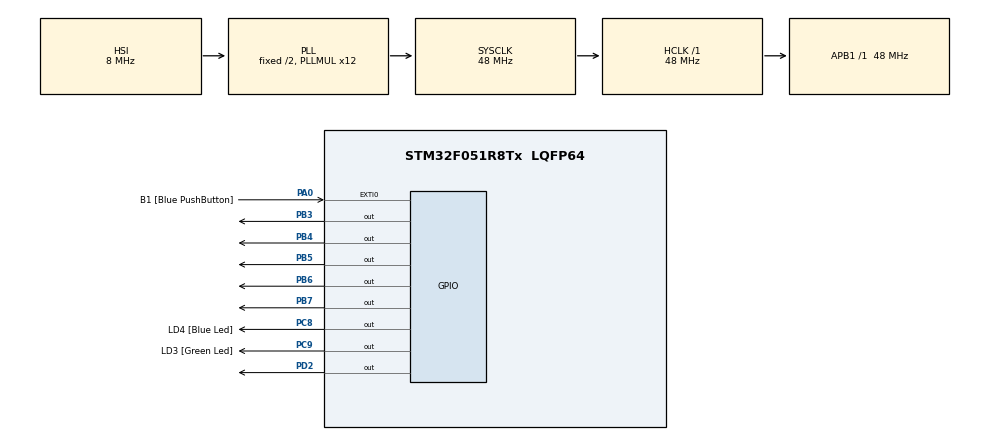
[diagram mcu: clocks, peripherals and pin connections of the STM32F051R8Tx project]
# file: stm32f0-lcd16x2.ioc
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Mcu.Family=STM32F0
Mcu.Name=STM32F051R8Tx
Mcu.Package=LQFP64
PA0.GPIO_Label=B1 [Blue PushButton]
PA0.GPIO_ModeDefaultEXTI=GPIO_MODE_EVT_RISING
PA0.Signal=GPXTI0
PA13.GPIO_Label=SWDIO
PA13.Mode=Serial_Wire
PA13.Signal=SYS_SWDIO
PA14.GPIO_Label=SWCLK
PA14.Mode=Serial_Wire
PA14.Signal=SYS_SWCLK
PB3.GPIO_Speed=GPIO_SPEED_FREQ_MEDIUM
PB3.Signal=GPIO_Output
PB4.GPIO_Speed=GPIO_SPEED_FREQ_MEDIUM
PB4.Signal=GPIO_Output
PB5.GPIO_Speed=GPIO_SPEED_FREQ_MEDIUM
PB5.Signal=GPIO_Output
PB6.GPIO_Speed=GPIO_SPEED_FREQ_MEDIUM
PB6.Signal=GPIO_Output
PB7.GPIO_Speed=GPIO_SPEED_FREQ_MEDIUM
PB7.Signal=GPIO_Output
PC8.GPIO_Label=LD4 [Blue Led]
PC8.GPIO_Speed=GPIO_SPEED_FREQ_LOW
PC8.Signal=GPIO_Output
PC9.GPIO_Label=LD3 [Green Led]
PC9.GPIO_Speed=GPIO_SPEED_FREQ_LOW
PC9.Signal=GPIO_Output
PD2.GPIO_Speed=GPIO_SPEED_FREQ_MEDIUM
PD2.Signal=GPIO_Output
ProjectManager.HeapSize=0x200
ProjectManager.StackSize=0x400
ProjectManager.TargetToolchain=STM32CubeIDE
RCC.AHBFreq_Value=48000000
RCC.APB1Freq_Value=48000000
RCC.APB1TimFreq_Value=48000000
RCC.HCLKFreq_Value=48000000
RCC.PLLMUL=RCC_PLL_MUL12
RCC.SYSCLKFreq_VALUE=48000000
RCC.SYSCLKSource=RCC_SYSCLKSOURCE_PLLCLK
TIM1.Prescaler=41
VP_TIM1_VS_ClockSourceINT.Mode=Internal
board=STM32F0DISCOVERY

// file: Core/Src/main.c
/* USER CODE BEGIN Header */
/**
  ******************************************************************************
  * @file           : main.c
  * @brief          : Main program body
  ******************************************************************************
  * @attention
  *
  * Copyright (c) 2023 STMicroelectronics.
  * All rights reserved.
  *
  * This software is licensed under terms that can be found in the LICENSE file
  * in the root directory of this software component.
  * If no LICENSE file comes with this software, it is provided AS-IS.
  *
  ******************************************************************************
  */
/* USER CODE END Header */
#include "main.h"

/* USER CODE BEGIN Includes */
#include<stdint.h>
#include<stdio.h>
/* USER CODE END Includes */

/* USER CODE BEGIN PD */

//For easier references to pins
#define RS_PIN GPIO_PIN_7
#define ENABLE_PIN GPIO_PIN_2
#define D4_PIN GPIO_PIN_3
#define D5_PIN GPIO_PIN_4
#define D6_PIN GPIO_PIN_5
#define D7_PIN GPIO_PIN_6

//For easier references to pin ports
#define RS_PORT GPIOB
#define DATA_PORT GPIOB
#define	ENABLE_PORT GPIOD
/* USER CODE END PD */

TIM_HandleTypeDef htim1;

void SystemClock_Config(void);
static void MX_GPIO_Init(void);
static void MX_TIM1_Init(void);

/* USER CODE BEGIN 0 */
void send_lcd_cmd(char cmd);
void send_lcd_string(char* text);
void send_lcd_text(char character);
void lcd_init();

void delay_us(int us)
{
	__HAL_TIM_SET_COUNTER(&htim1, 0);
	while(__HAL_TIM_GET_COUNTER(&htim1) < us);
}
/* USER CODE END 0 */

int main(void)
{

  /* MCU Configuration--------------------------------------------------------*/

  /* Reset of all peripherals, Initializes the Flash interface and the Systick. */
  HAL_Init();

  /* Configure the system clock */
  SystemClock_Config();

  /* Initialize all configured peripherals */
  MX_GPIO_Init();
  MX_TIM1_Init();
  /* USER CODE BEGIN 2 */
  __HAL_TIM_ENABLE(&htim1);
  lcd_init();
  //send_lcd_string("Hello world");
  send_lcd_string("Hello world!");
  /* USER CODE END 2 */

  /* Infinite loop */
  while (1)
  {

  }
}

void SystemClock_Config(void)
{
  RCC_OscInitTypeDef RCC_OscInitStruct = {0};
  RCC_ClkInitTypeDef RCC_ClkInitStruct = {0};

  /** Initializes the RCC Oscillators according to the specified parameters
  * in the RCC_OscInitTypeDef structure.
  */
  RCC_OscInitStruct.OscillatorType = RCC_OSCILLATORTYPE_HSI;
  RCC_OscInitStruct.HSIState = RCC_HSI_ON;
  RCC_OscInitStruct.HSICalibrationValue = RCC_HSICALIBRATION_DEFAULT;
  RCC_OscInitStruct.PLL.PLLState = RCC_PLL_ON;
  RCC_OscInitStruct.PLL.PLLSource = RCC_PLLSOURCE_HSI;
  RCC_OscInitStruct.PLL.PLLMUL = RCC_PLL_MUL12;
  RCC_OscInitStruct.PLL.PREDIV = RCC_PREDIV_DIV1;
  if (HAL_RCC_OscConfig(&RCC_OscInitStruct) != HAL_OK)
  {
    Error_Handler();
  }

  /** Initializes the CPU, AHB and APB buses clocks
  */
  RCC_ClkInitStruct.ClockType = RCC_CLOCKTYPE_HCLK|RCC_CLOCKTYPE_SYSCLK
                              |RCC_CLOCKTYPE_PCLK1;
  RCC_ClkInitStruct.SYSCLKSource = RCC_SYSCLKSOURCE_PLLCLK;
  RCC_ClkInitStruct.AHBCLKDivider = RCC_SYSCLK_DIV1;
  RCC_ClkInitStruct.APB1CLKDivider = RCC_HCLK_DIV1;

  if (HAL_RCC_ClockConfig(&RCC_ClkInitStruct, FLASH_LATENCY_1) != HAL_OK)
  {
    Error_Handler();
  }
}

static void MX_TIM1_Init(void)
{

  TIM_ClockConfigTypeDef sClockSourceConfig = {0};
  TIM_MasterConfigTypeDef sMasterConfig = {0};

  htim1.Instance = TIM1;
  htim1.Init.Prescaler = 41;
  htim1.Init.CounterMode = TIM_COUNTERMODE_UP;
  htim1.Init.Period = 65535;
  htim1.Init.ClockDivision = TIM_CLOCKDIVISION_DIV1;
  htim1.Init.RepetitionCounter = 0;
  htim1.Init.AutoReloadPreload = TIM_AUTORELOAD_PRELOAD_DISABLE;
  if (HAL_TIM_Base_Init(&htim1) != HAL_OK)
  {
    Error_Handler();
  }
  sClockSourceConfig.ClockSource = TIM_CLOCKSOURCE_INTERNAL;
  if (HAL_TIM_ConfigClockSource(&htim1, &sClockSourceConfig) != HAL_OK)
  {
    Error_Handler();
  }
  sMasterConfig.MasterOutputTrigger = TIM_TRGO_RESET;
  sMasterConfig.MasterSlaveMode = TIM_MASTERSLAVEMODE_DISABLE;
  if (HAL_TIMEx_MasterConfigSynchronization(&htim1, &sMasterConfig) != HAL_OK)
  {
    Error_Handler();
  }

}

static void MX_GPIO_Init(void)
{
  GPIO_InitTypeDef GPIO_InitStruct = {0};

  /* GPIO Ports Clock Enable */
  __HAL_RCC_GPIOA_CLK_ENABLE();
  __HAL_RCC_GPIOC_CLK_ENABLE();
  __HAL_RCC_GPIOD_CLK_ENABLE();
  __HAL_RCC_GPIOB_CLK_ENABLE();

  /*Configure GPIO pin Output Level */
  HAL_GPIO_WritePin(GPIOC, LD4_Pin|LD3_Pin, GPIO_PIN_RESET);

  /*Configure GPIO pin Output Level */
  HAL_GPIO_WritePin(GPIOD, GPIO_PIN_2, GPIO_PIN_RESET);

  /*Configure GPIO pin Output Level */
  HAL_GPIO_WritePin(GPIOB, GPIO_PIN_3|GPIO_PIN_4|GPIO_PIN_5|GPIO_PIN_6
                          |GPIO_PIN_7, GPIO_PIN_RESET);

  /*Configure GPIO pin : B1_Pin */
  GPIO_InitStruct.Pin = B1_Pin;
  GPIO_InitStruct.Mode = GPIO_MODE_EVT_RISING;
  GPIO_InitStruct.Pull = GPIO_NOPULL;
  HAL_GPIO_Init(B1_GPIO_Port, &GPIO_InitStruct);

  /*Configure GPIO pins : LD4_Pin LD3_Pin */
  GPIO_InitStruct.Pin = LD4_Pin|LD3_Pin;
  GPIO_InitStruct.Mode = GPIO_MODE_OUTPUT_PP;
  GPIO_InitStruct.Pull = GPIO_NOPULL;
  GPIO_InitStruct.Speed = GPIO_SPEED_FREQ_LOW;
  HAL_GPIO_Init(GPIOC, &GPIO_InitStruct);

  /*Configure GPIO pin : PD2 */
  GPIO_InitStruct.Pin = GPIO_PIN_2;
  GPIO_InitStruct.Mode = GPIO_MODE_OUTPUT_PP;
  GPIO_InitStruct.Pull = GPIO_NOPULL;
  GPIO_InitStruct.Speed = GPIO_SPEED_FREQ_MEDIUM;
  HAL_GPIO_Init(GPIOD, &GPIO_InitStruct);

  /*Configure GPIO pins : PB3 PB4 PB5 PB6
                           PB7 */
  GPIO_InitStruct.Pin = GPIO_PIN_3|GPIO_PIN_4|GPIO_PIN_5|GPIO_PIN_6
                          |GPIO_PIN_7;
  GPIO_InitStruct.Mode = GPIO_MODE_OUTPUT_PP;
  GPIO_InitStruct.Pull = GPIO_NOPULL;
  GPIO_InitStruct.Speed = GPIO_SPEED_FREQ_MEDIUM;
  HAL_GPIO_Init(GPIOB, &GPIO_InitStruct);

}

/* USER CODE BEGIN 4 */
void send_lcd_data(char data4bit, int rs)
{
	//When sending command RS state must be LOW, when sending data RS is HIGH
	GPIO_PinState mode = rs ? 1 : 0;		//if just in case of wrong input
	HAL_GPIO_WritePin(RS_PORT, RS_PIN, mode);
	//delay_us(200);

	HAL_GPIO_WritePin(DATA_PORT, D4_PIN, (data4bit & 0x01));
	HAL_GPIO_WritePin(DATA_PORT, D5_PIN, ((data4bit >> 1) & 0x01));
	HAL_GPIO_WritePin(DATA_PORT, D6_PIN, ((data4bit >> 2) & 0x01));
	HAL_GPIO_WritePin(DATA_PORT, D7_PIN, ((data4bit >> 3) & 0x01));

	delay_us(100);
	//Now to signalize that we finished sending we need to toggle enable bit
	HAL_GPIO_WritePin(ENABLE_PORT,ENABLE_PIN, 1);
    delay_us(600);
	HAL_GPIO_WritePin(ENABLE_PORT,ENABLE_PIN, 0);
	delay_us(600);
}

void send_lcd_cmd(char cmd)
{
	//First sending 4 MSB as the hitachi manual states
	char nibble = ((cmd >> 4) & 0x0f);
	send_lcd_data(nibble, 0);

	nibble = (cmd & 0x0f);
	send_lcd_data(nibble, 0);
}

void send_lcd_text(char character)
{
	//First sending 4 MSB as the hitachi manual states
	char nibble = ((character >> 4) & 0x0f);
	send_lcd_data(nibble, 1);

	nibble = (character & 0x0f);
	send_lcd_data(nibble, 1);
}

void lcd_init()
{
	//Written according to hitachi initialization documentation (for 4 bit)
	delay_us(50000);	//Waiting more than 40ms
	send_lcd_data(0x03, 0);
	delay_us(4500);	//Wait for more than 4ms
	send_lcd_data(0x03, 0);
	delay_us(200); 	//Wait for more than 100us
	send_lcd_data(0x03, 0);
	delay_us(200);
	send_lcd_data(0x02, 0);		//First specify that the interface is 4bit

	delay_us(10000);
	send_lcd_cmd(0x28);		//Specify the details about no. lines etc
	delay_us(10000);
	send_lcd_cmd(0x0F); 	//Turn display off
	delay_us(10000);
	send_lcd_cmd(0x01);		//Clear display
	delay_us(50000);

	//Personal settings
	send_lcd_cmd(0x06);		//Autoincrement of cursor
	delay_us(10000);
	//send_lcd_cmd(0x0F);		//Display on cursor on
	//delay_us(10000);
	send_lcd_cmd(0x80); 	//Set cursor at (0,0)
	delay_us(10000);
}

void send_lcd_string(char* text)
{
	char *ptr = text;
	while(*ptr)
	{
		send_lcd_text(*ptr++);
		delay_us(50);
	}
}
/* USER CODE END 4 */

void Error_Handler(void)
{
  __disable_irq();
  while (1)
  {
  }
}
